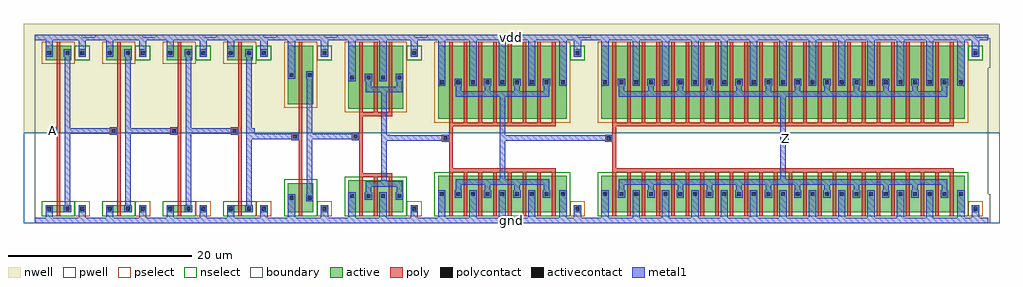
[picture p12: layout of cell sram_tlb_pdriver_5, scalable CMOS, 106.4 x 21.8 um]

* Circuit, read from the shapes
.subckt sram_tlb_pdriver_5 A Z gnd vdd
M1 sram_tlb_pinv_6_1/A A gnd gnd nfet w=0.8u l=0.4u
M2 sram_tlb_pinv_6_2/A sram_tlb_pinv_6_1/A gnd gnd nfet w=0.8u l=0.4u
M3 sram_tlb_pinv_6_3/A sram_tlb_pinv_6_2/A gnd gnd nfet w=0.8u l=0.4u
M4 sram_tlb_pinv_18_4/A sram_tlb_pinv_6_3/A gnd gnd nfet w=0.8u l=0.4u
M5 sram_tlb_pinv_19_5/A sram_tlb_pinv_18_4/A gnd gnd nfet w=3.2u l=0.4u
M6 sram_tlb_pinv_20_6/A sram_tlb_pinv_19_5/A gnd gnd nfet w=3.5u l=0.4u m=3
M7 sram_tlb_pinv_21_7/A sram_tlb_pinv_20_6/A gnd gnd nfet w=4u l=0.4u m=8
M8 Z sram_tlb_pinv_21_7/A gnd gnd nfet w=4u l=0.4u m=24
M9 sram_tlb_pinv_6_1/A A vdd vdd pfet w=1.6u l=0.4u
M10 sram_tlb_pinv_6_2/A sram_tlb_pinv_6_1/A vdd vdd pfet w=1.6u l=0.4u
M11 sram_tlb_pinv_6_3/A sram_tlb_pinv_6_2/A vdd vdd pfet w=1.6u l=0.4u
M12 sram_tlb_pinv_18_4/A sram_tlb_pinv_6_3/A vdd vdd pfet w=1.6u l=0.4u
M13 sram_tlb_pinv_19_5/A sram_tlb_pinv_18_4/A vdd vdd pfet w=6.4u l=0.4u
M14 sram_tlb_pinv_20_6/A sram_tlb_pinv_19_5/A vdd vdd pfet w=6.9u l=0.4u m=3
M15 sram_tlb_pinv_21_7/A sram_tlb_pinv_20_6/A vdd vdd pfet w=8u l=0.4u m=8
M16 Z sram_tlb_pinv_21_7/A vdd vdd pfet w=8u l=0.4u m=24
.ends

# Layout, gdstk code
import gdstk
lib = gdstk.Library(unit=1e-6, precision=1e-09)
def R(c, l, rs):  # rectangles x0, y0, x1, y1
    for r in rs: c.add(gdstk.rectangle(r[:2], r[2:], *l))
def A(c, l, x, y, w, h, nx, ny, dx, dy):  # array of equal rectangles
    R(c, l, [(x+i*dx, y+j*dy, x+i*dx+w, y+j*dy+h) for i in range(nx) for j in range(ny)])
pwell = (41, 0)
nwell = (42, 0)
active = (43, 0)
pselect = (44, 0)
nselect = (45, 0)
poly = (46, 0)
polycontact = (47, 0)
activecontact = (48, 0)
metal1 = (49, 0)
boundary = (63, 0)

sram_tlb_contact_11 = lib.new_cell('sram_tlb_contact_11')
R(sram_tlb_contact_11, nwell, [(-1.2,-1.2,2,2)])
R(sram_tlb_contact_11, active, [(0,0,0.8,0.8)])
R(sram_tlb_contact_11, pselect, [(-0.4,-0.4,1.2,1.2)])
R(sram_tlb_contact_11, activecontact, [(0.2,0.2,0.6,0.6)])
R(sram_tlb_contact_11, metal1, [(0,0,0.8,0.8)])
R(sram_tlb_contact_11, boundary, [(-1.2,-1.2,2,2)])

sram_tlb_pmos_m1_w1_600_ = lib.new_cell('sram_tlb_pmos_m1_w1_600_sm1_dm1_da_p')
R(sram_tlb_pmos_m1_w1_600_, nwell, [(-1.2,-1.2,4,2.8)])
R(sram_tlb_pmos_m1_w1_600_, active, [(0,0,2.8,1.6)])
R(sram_tlb_pmos_m1_w1_600_, pselect, [(-0.4,-0.4,3.2,2)])
R(sram_tlb_pmos_m1_w1_600_, poly, [(1.2,-0.4,1.6,2), (1.2,-0.4,1.6,2)])
R(sram_tlb_pmos_m1_w1_600_, metal1, [(0,0.4,0.8,1.2), (2,0.4,2.8,1.2)])
R(sram_tlb_pmos_m1_w1_600_, boundary, [(-1.2,-1.2,4,2.8)])
sram_tlb_pmos_m1_w1_600_.add(gdstk.Reference(sram_tlb_contact_11, (0,0.4)))
sram_tlb_pmos_m1_w1_600_.add(gdstk.Reference(sram_tlb_contact_11, (2,0.4)))
sram_tlb_pmos_m1_w1_600_.add(gdstk.Label('G', (1.4,0.8), layer=46, texttype=0))
sram_tlb_pmos_m1_w1_600_.add(gdstk.Label('S', (0.4,0.8), layer=49, texttype=0))
sram_tlb_pmos_m1_w1_600_.add(gdstk.Label('D', (2.4,0.8), layer=49, texttype=0))

sram_tlb_contact_10 = lib.new_cell('sram_tlb_contact_10')
R(sram_tlb_contact_10, pwell, [(-1.2,-1.2,2,2)])
R(sram_tlb_contact_10, active, [(0,0,0.8,0.8)])
R(sram_tlb_contact_10, nselect, [(-0.4,-0.4,1.2,1.2)])
R(sram_tlb_contact_10, activecontact, [(0.2,0.2,0.6,0.6)])
R(sram_tlb_contact_10, metal1, [(0,0,0.8,0.8)])
R(sram_tlb_contact_10, boundary, [(-1.2,-1.2,2,2)])

sram_tlb_nmos_m1_w0_800_ = lib.new_cell('sram_tlb_nmos_m1_w0_800_sm1_dm1_da_p')
R(sram_tlb_nmos_m1_w0_800_, pwell, [(-1.2,-1.2,4,2)])
R(sram_tlb_nmos_m1_w0_800_, active, [(0,0,2.8,0.8)])
R(sram_tlb_nmos_m1_w0_800_, nselect, [(-0.4,-0.4,3.2,1.2)])
R(sram_tlb_nmos_m1_w0_800_, poly, [(1.2,-0.4,1.6,1.2), (1.2,-0.4,1.6,1.2)])
R(sram_tlb_nmos_m1_w0_800_, metal1, [(0,0,0.8,0.8), (2,0,2.8,0.8)])
R(sram_tlb_nmos_m1_w0_800_, boundary, [(-1.2,-1.2,4,2)])
sram_tlb_nmos_m1_w0_800_.add(gdstk.Reference(sram_tlb_contact_10, (0,0)))
sram_tlb_nmos_m1_w0_800_.add(gdstk.Reference(sram_tlb_contact_10, (2,0)))
sram_tlb_nmos_m1_w0_800_.add(gdstk.Label('G', (1.4,0.4), layer=46, texttype=0))
sram_tlb_nmos_m1_w0_800_.add(gdstk.Label('S', (0.4,0.4), layer=49, texttype=0))
sram_tlb_nmos_m1_w0_800_.add(gdstk.Label('D', (2.4,0.4), layer=49, texttype=0))

sram_tlb_contact_12 = lib.new_cell('sram_tlb_contact_12')
R(sram_tlb_contact_12, nwell, [(-1.2,-1.2,2,2)])
R(sram_tlb_contact_12, active, [(0,0,0.8,0.8)])
R(sram_tlb_contact_12, nselect, [(-0.4,-0.4,1.2,1.2)])
R(sram_tlb_contact_12, activecontact, [(0.2,0.2,0.6,0.6)])
R(sram_tlb_contact_12, metal1, [(0,0,0.8,0.8)])
R(sram_tlb_contact_12, boundary, [(-1.2,-1.2,2,2)])

sram_tlb_contact_13 = lib.new_cell('sram_tlb_contact_13')
R(sram_tlb_contact_13, pwell, [(-1.2,-1.2,2,2)])
R(sram_tlb_contact_13, active, [(0,0,0.8,0.8)])
R(sram_tlb_contact_13, pselect, [(-0.4,-0.4,1.2,1.2)])
R(sram_tlb_contact_13, activecontact, [(0.2,0.2,0.6,0.6)])
R(sram_tlb_contact_13, metal1, [(0,0,0.8,0.8)])
R(sram_tlb_contact_13, boundary, [(-1.2,-1.2,2,2)])

sram_tlb_contact_14 = lib.new_cell('sram_tlb_contact_14')
R(sram_tlb_contact_14, poly, [(0,0,0.8,0.8)])
R(sram_tlb_contact_14, polycontact, [(0.2,0.2,0.6,0.6)])
R(sram_tlb_contact_14, metal1, [(0,0,0.8,0.8)])
R(sram_tlb_contact_14, boundary, [(0,0,0.8,0.8)])

sram_tlb_pinv_6 = lib.new_cell('sram_tlb_pinv_6')
R(sram_tlb_pinv_6, pwell, [(-1.2,-0.3,7.8,9.6)])
R(sram_tlb_pinv_6, nwell, [(-1.2,9.6,7.8,21.5)])
R(sram_tlb_pinv_6, poly, [(2.4,2.1,2.8,17.1), (2,9.4,2.4,10.2)])
R(sram_tlb_pinv_6, metal1, [(0,-0.3,6.6,0.3), (1.2,-0.3,2,0.9), (4.8,0,5.6,1.3), (3.3,0.9,3.9,18.7), (1.6,9.4,2.4,10.2), (3.6,9.5,4.2,10.1), (1.2,17.9,2,20.3), (4.8,18.3,5.6,20), (0,19.7,6.6,20.3)])
R(sram_tlb_pinv_6, boundary, [(0,0,6.6,20), (0,0,6.6,20)])
sram_tlb_pinv_6.add(gdstk.Reference(sram_tlb_pmos_m1_w1_600_, (1.2,17.5)))
sram_tlb_pinv_6.add(gdstk.Reference(sram_tlb_nmos_m1_w0_800_, (1.2,0.9)))
sram_tlb_pinv_6.add(gdstk.Reference(sram_tlb_contact_12, (4.8,17.9)))
sram_tlb_pinv_6.add(gdstk.Reference(sram_tlb_contact_13, (4.8,0.9)))
sram_tlb_pinv_6.add(gdstk.Reference(sram_tlb_contact_14, (1.6,9.4)))
sram_tlb_pinv_6.add(gdstk.Label('A', (2,9.8), layer=49, texttype=0))
sram_tlb_pinv_6.add(gdstk.Label('Z', (3.9,9.8), layer=49, texttype=0))
sram_tlb_pinv_6.add(gdstk.Label('gnd', (3.3,0), layer=49, texttype=0))
sram_tlb_pinv_6.add(gdstk.Label('vdd', (3.3,20), layer=49, texttype=0))

sram_tlb_pmos_m1_w6_400_ = lib.new_cell('sram_tlb_pmos_m1_w6_400_sm1_dm1_da_p')
R(sram_tlb_pmos_m1_w6_400_, nwell, [(-1.2,-1.2,4,7.6)])
R(sram_tlb_pmos_m1_w6_400_, active, [(0,0,2.8,6.4)])
R(sram_tlb_pmos_m1_w6_400_, pselect, [(-0.4,-0.4,3.2,6.8)])
R(sram_tlb_pmos_m1_w6_400_, poly, [(1.2,-0.4,1.6,6.8), (1.2,-0.4,1.6,6.8)])
R(sram_tlb_pmos_m1_w6_400_, metal1, [(0,2.8,0.8,3.6), (2,2.8,2.8,3.6)])
R(sram_tlb_pmos_m1_w6_400_, boundary, [(-1.2,-1.2,4,7.6)])
sram_tlb_pmos_m1_w6_400_.add(gdstk.Reference(sram_tlb_contact_11, (0,2.8)))
sram_tlb_pmos_m1_w6_400_.add(gdstk.Reference(sram_tlb_contact_11, (2,2.8)))
sram_tlb_pmos_m1_w6_400_.add(gdstk.Label('G', (1.4,3.2), layer=46, texttype=0))
sram_tlb_pmos_m1_w6_400_.add(gdstk.Label('S', (0.4,3.2), layer=49, texttype=0))
sram_tlb_pmos_m1_w6_400_.add(gdstk.Label('D', (2.4,3.2), layer=49, texttype=0))

sram_tlb_nmos_m1_w3_200_ = lib.new_cell('sram_tlb_nmos_m1_w3_200_sm1_dm1_da_p')
R(sram_tlb_nmos_m1_w3_200_, pwell, [(-1.2,-1.2,4,4.4)])
R(sram_tlb_nmos_m1_w3_200_, active, [(0,0,2.8,3.2)])
R(sram_tlb_nmos_m1_w3_200_, nselect, [(-0.4,-0.4,3.2,3.6)])
R(sram_tlb_nmos_m1_w3_200_, poly, [(1.2,-0.4,1.6,3.6), (1.2,-0.4,1.6,3.6)])
R(sram_tlb_nmos_m1_w3_200_, metal1, [(0,1.2,0.8,2), (2,1.2,2.8,2)])
R(sram_tlb_nmos_m1_w3_200_, boundary, [(-1.2,-1.2,4,4.4)])
sram_tlb_nmos_m1_w3_200_.add(gdstk.Reference(sram_tlb_contact_10, (0,1.2)))
sram_tlb_nmos_m1_w3_200_.add(gdstk.Reference(sram_tlb_contact_10, (2,1.2)))
sram_tlb_nmos_m1_w3_200_.add(gdstk.Label('G', (1.4,1.6), layer=46, texttype=0))
sram_tlb_nmos_m1_w3_200_.add(gdstk.Label('S', (0.4,1.6), layer=49, texttype=0))
sram_tlb_nmos_m1_w3_200_.add(gdstk.Label('D', (2.4,1.6), layer=49, texttype=0))

sram_tlb_pinv_18 = lib.new_cell('sram_tlb_pinv_18')
R(sram_tlb_pinv_18, pwell, [(-1.2,-0.3,7.8,9.6)])
R(sram_tlb_pinv_18, nwell, [(-1.2,9.6,7.8,21.5)])
R(sram_tlb_pinv_18, poly, [(2.4,4.5,2.8,12.3), (2,8.8,2.4,9.6)])
R(sram_tlb_pinv_18, metal1, [(0,-0.3,6.6,0.3), (1.2,-0.3,2,2.1), (4.8,0,5.6,1.3), (3.3,2.1,3.9,16.3), (1.6,8.8,2.4,9.6), (3.6,8.9,4.2,9.5), (1.2,15.5,2,20.3), (4.8,18.3,5.6,20), (0,19.7,6.6,20.3)])
R(sram_tlb_pinv_18, boundary, [(0,0,6.6,20), (0,0,6.6,20)])
sram_tlb_pinv_18.add(gdstk.Reference(sram_tlb_pmos_m1_w6_400_, (1.2,12.7)))
sram_tlb_pinv_18.add(gdstk.Reference(sram_tlb_nmos_m1_w3_200_, (1.2,0.9)))
sram_tlb_pinv_18.add(gdstk.Reference(sram_tlb_contact_12, (4.8,17.9)))
sram_tlb_pinv_18.add(gdstk.Reference(sram_tlb_contact_13, (4.8,0.9)))
sram_tlb_pinv_18.add(gdstk.Reference(sram_tlb_contact_14, (1.6,8.8)))
sram_tlb_pinv_18.add(gdstk.Label('A', (2,9.2), layer=49, texttype=0))
sram_tlb_pinv_18.add(gdstk.Label('Z', (3.9,9.2), layer=49, texttype=0))
sram_tlb_pinv_18.add(gdstk.Label('gnd', (3.3,0), layer=49, texttype=0))
sram_tlb_pinv_18.add(gdstk.Label('vdd', (3.3,20), layer=49, texttype=0))

sram_tlb_pmos_m3_w6_900_ = lib.new_cell('sram_tlb_pmos_m3_w6_900_sm1_dm1_da_p')
R(sram_tlb_pmos_m3_w6_900_, nwell, [(-1.2,-1.2,7.2,8.1)])
R(sram_tlb_pmos_m3_w6_900_, active, [(0,0,6,6.9)])
R(sram_tlb_pmos_m3_w6_900_, pselect, [(-0.4,-0.4,6.4,7.3)])
A(sram_tlb_pmos_m3_w6_900_, poly, 1.2, -0.4, 0.4, 7.7, 3, 1, 1.6, 0)
R(sram_tlb_pmos_m3_w6_900_, poly, [(1.2,-0.8,4.8,-0.4)])
R(sram_tlb_pmos_m3_w6_900_, metal1, [(1.9,1.8,5.9,2.4), (1.9,2.2,2.5,3.4), (5.3,2.2,5.9,3.4), (0,3,0.8,3.8), (3.4,3,4.2,3.8)])
R(sram_tlb_pmos_m3_w6_900_, boundary, [(-1.2,-1.2,7.2,8.1)])
sram_tlb_pmos_m3_w6_900_.add(gdstk.Reference(sram_tlb_contact_11, (0,3)))
sram_tlb_pmos_m3_w6_900_.add(gdstk.Reference(sram_tlb_contact_11, (1.8,3)))
sram_tlb_pmos_m3_w6_900_.add(gdstk.Reference(sram_tlb_contact_11, (3.4,3)))
sram_tlb_pmos_m3_w6_900_.add(gdstk.Reference(sram_tlb_contact_11, (5.2,3)))
sram_tlb_pmos_m3_w6_900_.add(gdstk.Label('G', (3,-0.6), layer=46, texttype=0))
sram_tlb_pmos_m3_w6_900_.add(gdstk.Label('S', (3.8,3.4), layer=49, texttype=0))
sram_tlb_pmos_m3_w6_900_.add(gdstk.Label('S', (0.4,3.4), layer=49, texttype=0))
sram_tlb_pmos_m3_w6_900_.add(gdstk.Label('D', (3.9,2.1), layer=49, texttype=0))

sram_tlb_nmos_m3_w3_500_ = lib.new_cell('sram_tlb_nmos_m3_w3_500_sm1_dm1_da_p')
R(sram_tlb_nmos_m3_w3_500_, pwell, [(-1.2,-1.2,7.2,4.7)])
R(sram_tlb_nmos_m3_w3_500_, active, [(0,0,6,3.5)])
R(sram_tlb_nmos_m3_w3_500_, nselect, [(-0.4,-0.4,6.4,3.9)])
A(sram_tlb_nmos_m3_w3_500_, poly, 1.2, -0.4, 0.4, 4.3, 3, 1, 1.6, 0)
R(sram_tlb_nmos_m3_w3_500_, poly, [(1.2,3.9,4.8,4.3)])
R(sram_tlb_nmos_m3_w3_500_, metal1, [(0,1.4,0.8,2.2), (3.4,1.4,4.2,2.2), (1.9,1.8,2.5,3), (5.3,1.8,5.9,3), (1.9,2.8,5.9,3.4)])
R(sram_tlb_nmos_m3_w3_500_, boundary, [(-1.2,-1.2,7.2,4.7)])
sram_tlb_nmos_m3_w3_500_.add(gdstk.Reference(sram_tlb_contact_10, (0,1.4)))
sram_tlb_nmos_m3_w3_500_.add(gdstk.Reference(sram_tlb_contact_10, (1.8,1.4)))
sram_tlb_nmos_m3_w3_500_.add(gdstk.Reference(sram_tlb_contact_10, (3.4,1.4)))
sram_tlb_nmos_m3_w3_500_.add(gdstk.Reference(sram_tlb_contact_10, (5.2,1.4)))
sram_tlb_nmos_m3_w3_500_.add(gdstk.Label('G', (3,4.1), layer=46, texttype=0))
sram_tlb_nmos_m3_w3_500_.add(gdstk.Label('S', (0.4,1.8), layer=49, texttype=0))
sram_tlb_nmos_m3_w3_500_.add(gdstk.Label('S', (3.8,1.8), layer=49, texttype=0))
sram_tlb_nmos_m3_w3_500_.add(gdstk.Label('D', (3.9,3.1), layer=49, texttype=0))

sram_tlb_pinv_19 = lib.new_cell('sram_tlb_pinv_19')
R(sram_tlb_pinv_19, pwell, [(-1.2,-0.3,11,9.6)])
R(sram_tlb_pinv_19, nwell, [(-1.2,9.6,11,21.5)])
R(sram_tlb_pinv_19, poly, [(2.4,5.2,2.8,11.4), (2,8.8,2.4,9.6)])
R(sram_tlb_pinv_19, metal1, [(0,-0.3,9.8,0.3), (1.2,-0.3,2,2.3), (4.6,-0.3,5.4,2.3), (8,0,8.8,1.3), (4.8,3.7,5.4,14.6), (1.6,8.8,2.4,9.6), (5.1,8.8,5.7,9.4), (1.2,15.2,2,20.3), (4.6,15.2,5.4,20.3), (8,18.3,8.8,20), (0,19.7,9.8,20.3)])
R(sram_tlb_pinv_19, boundary, [(0,0,9.8,20), (0,0,9.8,20)])
sram_tlb_pinv_19.add(gdstk.Reference(sram_tlb_pmos_m3_w6_900_, (1.2,12.2)))
sram_tlb_pinv_19.add(gdstk.Reference(sram_tlb_nmos_m3_w3_500_, (1.2,0.9)))
sram_tlb_pinv_19.add(gdstk.Reference(sram_tlb_contact_12, (8,17.9)))
sram_tlb_pinv_19.add(gdstk.Reference(sram_tlb_contact_13, (8,0.9)))
sram_tlb_pinv_19.add(gdstk.Reference(sram_tlb_contact_14, (1.6,8.8)))
sram_tlb_pinv_19.add(gdstk.Label('A', (2,9.2), layer=49, texttype=0))
sram_tlb_pinv_19.add(gdstk.Label('Z', (5.4,9.1), layer=49, texttype=0))
sram_tlb_pinv_19.add(gdstk.Label('gnd', (4.9,0), layer=49, texttype=0))
sram_tlb_pinv_19.add(gdstk.Label('vdd', (4.9,20), layer=49, texttype=0))

sram_tlb_pmos_m8_w8_000_ = lib.new_cell('sram_tlb_pmos_m8_w8_000_sm1_dm1_da_p')
R(sram_tlb_pmos_m8_w8_000_, nwell, [(-1.2,-1.2,15.2,9.2)])
R(sram_tlb_pmos_m8_w8_000_, active, [(0,0,14,8)])
R(sram_tlb_pmos_m8_w8_000_, pselect, [(-0.4,-0.4,14.4,8.4)])
A(sram_tlb_pmos_m8_w8_000_, poly, 1.2, -0.4, 0.4, 8.8, 8, 1, 1.6, 0)
R(sram_tlb_pmos_m8_w8_000_, poly, [(1.2,-0.8,12.8,-0.4)])
A(sram_tlb_pmos_m8_w8_000_, metal1, 1.9, 2.7, 0.6, 1.3, 4, 1, 3.2, 0)
A(sram_tlb_pmos_m8_w8_000_, metal1, 3.4, 3.6, 0.8, 0.8, 3, 1, 3.2, 0)
R(sram_tlb_pmos_m8_w8_000_, metal1, [(1.9,2.4,12.1,3), (0,3.6,0.8,4.4), (13.2,3.6,14,4.4)])
R(sram_tlb_pmos_m8_w8_000_, boundary, [(-1.2,-1.2,15.2,9.2)])
sram_tlb_pmos_m8_w8_000_.add(gdstk.Reference(sram_tlb_contact_11, (0,3.6)))
sram_tlb_pmos_m8_w8_000_.add(gdstk.Reference(sram_tlb_contact_11, (1.8,3.6)))
sram_tlb_pmos_m8_w8_000_.add(gdstk.Reference(sram_tlb_contact_11, (3.4,3.6)))
sram_tlb_pmos_m8_w8_000_.add(gdstk.Reference(sram_tlb_contact_11, (5,3.6)))
sram_tlb_pmos_m8_w8_000_.add(gdstk.Reference(sram_tlb_contact_11, (6.6,3.6)))
sram_tlb_pmos_m8_w8_000_.add(gdstk.Reference(sram_tlb_contact_11, (8.2,3.6)))
sram_tlb_pmos_m8_w8_000_.add(gdstk.Reference(sram_tlb_contact_11, (9.8,3.6)))
sram_tlb_pmos_m8_w8_000_.add(gdstk.Reference(sram_tlb_contact_11, (11.4,3.6)))
sram_tlb_pmos_m8_w8_000_.add(gdstk.Reference(sram_tlb_contact_11, (13.2,3.6)))
sram_tlb_pmos_m8_w8_000_.add(gdstk.Label('G', (7,-0.6), layer=46, texttype=0))
sram_tlb_pmos_m8_w8_000_.add(gdstk.Label('S', (3.8,4), layer=49, texttype=0))
sram_tlb_pmos_m8_w8_000_.add(gdstk.Label('S', (0.4,4), layer=49, texttype=0))
sram_tlb_pmos_m8_w8_000_.add(gdstk.Label('S', (13.6,4), layer=49, texttype=0))
sram_tlb_pmos_m8_w8_000_.add(gdstk.Label('S', (10.2,4), layer=49, texttype=0))
sram_tlb_pmos_m8_w8_000_.add(gdstk.Label('S', (7,4), layer=49, texttype=0))
sram_tlb_pmos_m8_w8_000_.add(gdstk.Label('D', (7,2.7), layer=49, texttype=0))

sram_tlb_nmos_m8_w4_000_ = lib.new_cell('sram_tlb_nmos_m8_w4_000_sm1_dm1_da_p')
R(sram_tlb_nmos_m8_w4_000_, pwell, [(-1.2,-1.2,15.2,5.2)])
R(sram_tlb_nmos_m8_w4_000_, active, [(0,0,14,4)])
R(sram_tlb_nmos_m8_w4_000_, nselect, [(-0.4,-0.4,14.4,4.4)])
A(sram_tlb_nmos_m8_w4_000_, poly, 1.2, -0.4, 0.4, 4.8, 8, 1, 1.6, 0)
R(sram_tlb_nmos_m8_w4_000_, poly, [(1.2,4.4,12.8,4.8)])
A(sram_tlb_nmos_m8_w4_000_, metal1, 3.4, 1.6, 0.8, 0.8, 3, 1, 3.2, 0)
A(sram_tlb_nmos_m8_w4_000_, metal1, 1.9, 2, 0.6, 1.3, 4, 1, 3.2, 0)
R(sram_tlb_nmos_m8_w4_000_, metal1, [(0,1.6,0.8,2.4), (13.2,1.6,14,2.4), (1.9,3,12.1,3.6)])
R(sram_tlb_nmos_m8_w4_000_, boundary, [(-1.2,-1.2,15.2,5.2)])
sram_tlb_nmos_m8_w4_000_.add(gdstk.Reference(sram_tlb_contact_10, (0,1.6)))
sram_tlb_nmos_m8_w4_000_.add(gdstk.Reference(sram_tlb_contact_10, (1.8,1.6)))
sram_tlb_nmos_m8_w4_000_.add(gdstk.Reference(sram_tlb_contact_10, (3.4,1.6)))
sram_tlb_nmos_m8_w4_000_.add(gdstk.Reference(sram_tlb_contact_10, (5,1.6)))
sram_tlb_nmos_m8_w4_000_.add(gdstk.Reference(sram_tlb_contact_10, (6.6,1.6)))
sram_tlb_nmos_m8_w4_000_.add(gdstk.Reference(sram_tlb_contact_10, (8.2,1.6)))
sram_tlb_nmos_m8_w4_000_.add(gdstk.Reference(sram_tlb_contact_10, (9.8,1.6)))
sram_tlb_nmos_m8_w4_000_.add(gdstk.Reference(sram_tlb_contact_10, (11.4,1.6)))
sram_tlb_nmos_m8_w4_000_.add(gdstk.Reference(sram_tlb_contact_10, (13.2,1.6)))
sram_tlb_nmos_m8_w4_000_.add(gdstk.Label('G', (7,4.6), layer=46, texttype=0))
sram_tlb_nmos_m8_w4_000_.add(gdstk.Label('S', (13.6,2), layer=49, texttype=0))
sram_tlb_nmos_m8_w4_000_.add(gdstk.Label('S', (0.4,2), layer=49, texttype=0))
sram_tlb_nmos_m8_w4_000_.add(gdstk.Label('S', (3.8,2), layer=49, texttype=0))
sram_tlb_nmos_m8_w4_000_.add(gdstk.Label('S', (10.2,2), layer=49, texttype=0))
sram_tlb_nmos_m8_w4_000_.add(gdstk.Label('S', (7,2), layer=49, texttype=0))
sram_tlb_nmos_m8_w4_000_.add(gdstk.Label('D', (7,3.3), layer=49, texttype=0))

sram_tlb_pinv_20 = lib.new_cell('sram_tlb_pinv_20')
R(sram_tlb_pinv_20, pwell, [(-1.2,-0.3,19,9.6)])
R(sram_tlb_pinv_20, nwell, [(-1.2,9.6,19,21.5)])
R(sram_tlb_pinv_20, poly, [(2.4,5.7,2.8,10.3), (2,8.6,2.4,9.4)])
A(sram_tlb_pinv_20, metal1, 4.6, -0.3, 0.8, 2.8, 3, 1, 3.2, 0)
A(sram_tlb_pinv_20, metal1, 4.6, 14.7, 0.8, 5.6, 3, 1, 3.2, 0)
R(sram_tlb_pinv_20, metal1, [(0,-0.3,17.8,0.3), (1.2,-0.3,2,2.5), (14.4,-0.3,15.2,2.5), (16,0,16.8,1.3), (7.9,3.9,8.5,14.1), (1.6,8.6,2.4,9.4), (8.2,8.7,8.8,9.3), (1.2,14.7,2,20.3), (14.4,14.7,15.2,20.3), (16,18.3,16.8,20), (0,19.7,17.8,20.3)])
R(sram_tlb_pinv_20, boundary, [(0,0,17.8,20), (0,0,17.8,20)])
sram_tlb_pinv_20.add(gdstk.Reference(sram_tlb_pmos_m8_w8_000_, (1.2,11.1)))
sram_tlb_pinv_20.add(gdstk.Reference(sram_tlb_nmos_m8_w4_000_, (1.2,0.9)))
sram_tlb_pinv_20.add(gdstk.Reference(sram_tlb_contact_12, (16,17.9)))
sram_tlb_pinv_20.add(gdstk.Reference(sram_tlb_contact_13, (16,0.9)))
sram_tlb_pinv_20.add(gdstk.Reference(sram_tlb_contact_14, (1.6,8.6)))
sram_tlb_pinv_20.add(gdstk.Label('A', (2,9), layer=49, texttype=0))
sram_tlb_pinv_20.add(gdstk.Label('Z', (8.5,9), layer=49, texttype=0))
sram_tlb_pinv_20.add(gdstk.Label('gnd', (8.9,0), layer=49, texttype=0))
sram_tlb_pinv_20.add(gdstk.Label('vdd', (8.9,20), layer=49, texttype=0))

sram_tlb_pmos_m24_w8_000 = lib.new_cell('sram_tlb_pmos_m24_w8_000_sm1_dm1_da_p')
R(sram_tlb_pmos_m24_w8_000, nwell, [(-1.2,-1.2,40.8,9.2)])
R(sram_tlb_pmos_m24_w8_000, active, [(0,0,39.6,8)])
R(sram_tlb_pmos_m24_w8_000, pselect, [(-0.4,-0.4,40,8.4)])
A(sram_tlb_pmos_m24_w8_000, poly, 1.2, -0.4, 0.4, 8.8, 24, 1, 1.6, 0)
R(sram_tlb_pmos_m24_w8_000, poly, [(1.2,-0.8,38.4,-0.4)])
A(sram_tlb_pmos_m24_w8_000, metal1, 1.9, 2.7, 0.6, 1.3, 12, 1, 3.2, 0)
A(sram_tlb_pmos_m24_w8_000, metal1, 3.4, 3.6, 0.8, 0.8, 11, 1, 3.2, 0)
R(sram_tlb_pmos_m24_w8_000, metal1, [(1.9,2.4,37.7,3), (0,3.6,0.8,4.4), (38.8,3.6,39.6,4.4)])
R(sram_tlb_pmos_m24_w8_000, boundary, [(-1.2,-1.2,40.8,9.2)])
sram_tlb_pmos_m24_w8_000.add(gdstk.Reference(sram_tlb_contact_11, (0,3.6)))
sram_tlb_pmos_m24_w8_000.add(gdstk.Reference(sram_tlb_contact_11, (1.8,3.6)))
sram_tlb_pmos_m24_w8_000.add(gdstk.Reference(sram_tlb_contact_11, (3.4,3.6)))
sram_tlb_pmos_m24_w8_000.add(gdstk.Reference(sram_tlb_contact_11, (5,3.6)))
sram_tlb_pmos_m24_w8_000.add(gdstk.Reference(sram_tlb_contact_11, (6.6,3.6)))
sram_tlb_pmos_m24_w8_000.add(gdstk.Reference(sram_tlb_contact_11, (8.2,3.6)))
sram_tlb_pmos_m24_w8_000.add(gdstk.Reference(sram_tlb_contact_11, (9.8,3.6)))
sram_tlb_pmos_m24_w8_000.add(gdstk.Reference(sram_tlb_contact_11, (11.4,3.6)))
sram_tlb_pmos_m24_w8_000.add(gdstk.Reference(sram_tlb_contact_11, (13,3.6)))
sram_tlb_pmos_m24_w8_000.add(gdstk.Reference(sram_tlb_contact_11, (14.6,3.6)))
sram_tlb_pmos_m24_w8_000.add(gdstk.Reference(sram_tlb_contact_11, (16.2,3.6)))
sram_tlb_pmos_m24_w8_000.add(gdstk.Reference(sram_tlb_contact_11, (17.8,3.6)))
sram_tlb_pmos_m24_w8_000.add(gdstk.Reference(sram_tlb_contact_11, (19.4,3.6)))
sram_tlb_pmos_m24_w8_000.add(gdstk.Reference(sram_tlb_contact_11, (21,3.6)))
sram_tlb_pmos_m24_w8_000.add(gdstk.Reference(sram_tlb_contact_11, (22.6,3.6)))
sram_tlb_pmos_m24_w8_000.add(gdstk.Reference(sram_tlb_contact_11, (24.2,3.6)))
sram_tlb_pmos_m24_w8_000.add(gdstk.Reference(sram_tlb_contact_11, (25.8,3.6)))
sram_tlb_pmos_m24_w8_000.add(gdstk.Reference(sram_tlb_contact_11, (27.4,3.6)))
sram_tlb_pmos_m24_w8_000.add(gdstk.Reference(sram_tlb_contact_11, (29,3.6)))
sram_tlb_pmos_m24_w8_000.add(gdstk.Reference(sram_tlb_contact_11, (30.6,3.6)))
sram_tlb_pmos_m24_w8_000.add(gdstk.Reference(sram_tlb_contact_11, (32.2,3.6)))
sram_tlb_pmos_m24_w8_000.add(gdstk.Reference(sram_tlb_contact_11, (33.8,3.6)))
sram_tlb_pmos_m24_w8_000.add(gdstk.Reference(sram_tlb_contact_11, (35.4,3.6)))
sram_tlb_pmos_m24_w8_000.add(gdstk.Reference(sram_tlb_contact_11, (37,3.6)))
sram_tlb_pmos_m24_w8_000.add(gdstk.Reference(sram_tlb_contact_11, (38.8,3.6)))
sram_tlb_pmos_m24_w8_000.add(gdstk.Label('G', (19.8,-0.6), layer=46, texttype=0))
sram_tlb_pmos_m24_w8_000.add(gdstk.Label('S', (16.6,4), layer=49, texttype=0))
sram_tlb_pmos_m24_w8_000.add(gdstk.Label('S', (3.8,4), layer=49, texttype=0))
sram_tlb_pmos_m24_w8_000.add(gdstk.Label('S', (13.4,4), layer=49, texttype=0))
sram_tlb_pmos_m24_w8_000.add(gdstk.Label('S', (19.8,4), layer=49, texttype=0))
sram_tlb_pmos_m24_w8_000.add(gdstk.Label('S', (0.4,4), layer=49, texttype=0))
sram_tlb_pmos_m24_w8_000.add(gdstk.Label('S', (26.2,4), layer=49, texttype=0))
sram_tlb_pmos_m24_w8_000.add(gdstk.Label('S', (32.6,4), layer=49, texttype=0))
sram_tlb_pmos_m24_w8_000.add(gdstk.Label('S', (35.8,4), layer=49, texttype=0))
sram_tlb_pmos_m24_w8_000.add(gdstk.Label('S', (29.4,4), layer=49, texttype=0))
sram_tlb_pmos_m24_w8_000.add(gdstk.Label('S', (10.2,4), layer=49, texttype=0))
sram_tlb_pmos_m24_w8_000.add(gdstk.Label('S', (23,4), layer=49, texttype=0))
sram_tlb_pmos_m24_w8_000.add(gdstk.Label('S', (39.2,4), layer=49, texttype=0))
sram_tlb_pmos_m24_w8_000.add(gdstk.Label('S', (7,4), layer=49, texttype=0))
sram_tlb_pmos_m24_w8_000.add(gdstk.Label('D', (19.8,2.7), layer=49, texttype=0))

sram_tlb_nmos_m24_w4_000 = lib.new_cell('sram_tlb_nmos_m24_w4_000_sm1_dm1_da_p')
R(sram_tlb_nmos_m24_w4_000, pwell, [(-1.2,-1.2,40.8,5.2)])
R(sram_tlb_nmos_m24_w4_000, active, [(0,0,39.6,4)])
R(sram_tlb_nmos_m24_w4_000, nselect, [(-0.4,-0.4,40,4.4)])
A(sram_tlb_nmos_m24_w4_000, poly, 1.2, -0.4, 0.4, 4.8, 24, 1, 1.6, 0)
R(sram_tlb_nmos_m24_w4_000, poly, [(1.2,4.4,38.4,4.8)])
A(sram_tlb_nmos_m24_w4_000, metal1, 3.4, 1.6, 0.8, 0.8, 11, 1, 3.2, 0)
A(sram_tlb_nmos_m24_w4_000, metal1, 1.9, 2, 0.6, 1.3, 12, 1, 3.2, 0)
R(sram_tlb_nmos_m24_w4_000, metal1, [(0,1.6,0.8,2.4), (38.8,1.6,39.6,2.4), (1.9,3,37.7,3.6)])
R(sram_tlb_nmos_m24_w4_000, boundary, [(-1.2,-1.2,40.8,5.2)])
sram_tlb_nmos_m24_w4_000.add(gdstk.Reference(sram_tlb_contact_10, (0,1.6)))
sram_tlb_nmos_m24_w4_000.add(gdstk.Reference(sram_tlb_contact_10, (1.8,1.6)))
sram_tlb_nmos_m24_w4_000.add(gdstk.Reference(sram_tlb_contact_10, (3.4,1.6)))
sram_tlb_nmos_m24_w4_000.add(gdstk.Reference(sram_tlb_contact_10, (5,1.6)))
sram_tlb_nmos_m24_w4_000.add(gdstk.Reference(sram_tlb_contact_10, (6.6,1.6)))
sram_tlb_nmos_m24_w4_000.add(gdstk.Reference(sram_tlb_contact_10, (8.2,1.6)))
sram_tlb_nmos_m24_w4_000.add(gdstk.Reference(sram_tlb_contact_10, (9.8,1.6)))
sram_tlb_nmos_m24_w4_000.add(gdstk.Reference(sram_tlb_contact_10, (11.4,1.6)))
sram_tlb_nmos_m24_w4_000.add(gdstk.Reference(sram_tlb_contact_10, (13,1.6)))
sram_tlb_nmos_m24_w4_000.add(gdstk.Reference(sram_tlb_contact_10, (14.6,1.6)))
sram_tlb_nmos_m24_w4_000.add(gdstk.Reference(sram_tlb_contact_10, (16.2,1.6)))
sram_tlb_nmos_m24_w4_000.add(gdstk.Reference(sram_tlb_contact_10, (17.8,1.6)))
sram_tlb_nmos_m24_w4_000.add(gdstk.Reference(sram_tlb_contact_10, (19.4,1.6)))
sram_tlb_nmos_m24_w4_000.add(gdstk.Reference(sram_tlb_contact_10, (21,1.6)))
sram_tlb_nmos_m24_w4_000.add(gdstk.Reference(sram_tlb_contact_10, (22.6,1.6)))
sram_tlb_nmos_m24_w4_000.add(gdstk.Reference(sram_tlb_contact_10, (24.2,1.6)))
sram_tlb_nmos_m24_w4_000.add(gdstk.Reference(sram_tlb_contact_10, (25.8,1.6)))
sram_tlb_nmos_m24_w4_000.add(gdstk.Reference(sram_tlb_contact_10, (27.4,1.6)))
sram_tlb_nmos_m24_w4_000.add(gdstk.Reference(sram_tlb_contact_10, (29,1.6)))
sram_tlb_nmos_m24_w4_000.add(gdstk.Reference(sram_tlb_contact_10, (30.6,1.6)))
sram_tlb_nmos_m24_w4_000.add(gdstk.Reference(sram_tlb_contact_10, (32.2,1.6)))
sram_tlb_nmos_m24_w4_000.add(gdstk.Reference(sram_tlb_contact_10, (33.8,1.6)))
sram_tlb_nmos_m24_w4_000.add(gdstk.Reference(sram_tlb_contact_10, (35.4,1.6)))
sram_tlb_nmos_m24_w4_000.add(gdstk.Reference(sram_tlb_contact_10, (37,1.6)))
sram_tlb_nmos_m24_w4_000.add(gdstk.Reference(sram_tlb_contact_10, (38.8,1.6)))
sram_tlb_nmos_m24_w4_000.add(gdstk.Label('G', (19.8,4.6), layer=46, texttype=0))
sram_tlb_nmos_m24_w4_000.add(gdstk.Label('S', (19.8,2), layer=49, texttype=0))
sram_tlb_nmos_m24_w4_000.add(gdstk.Label('S', (26.2,2), layer=49, texttype=0))
sram_tlb_nmos_m24_w4_000.add(gdstk.Label('S', (0.4,2), layer=49, texttype=0))
sram_tlb_nmos_m24_w4_000.add(gdstk.Label('S', (3.8,2), layer=49, texttype=0))
sram_tlb_nmos_m24_w4_000.add(gdstk.Label('S', (29.4,2), layer=49, texttype=0))
sram_tlb_nmos_m24_w4_000.add(gdstk.Label('S', (16.6,2), layer=49, texttype=0))
sram_tlb_nmos_m24_w4_000.add(gdstk.Label('S', (32.6,2), layer=49, texttype=0))
sram_tlb_nmos_m24_w4_000.add(gdstk.Label('S', (35.8,2), layer=49, texttype=0))
sram_tlb_nmos_m24_w4_000.add(gdstk.Label('S', (13.4,2), layer=49, texttype=0))
sram_tlb_nmos_m24_w4_000.add(gdstk.Label('S', (39.2,2), layer=49, texttype=0))
sram_tlb_nmos_m24_w4_000.add(gdstk.Label('S', (23,2), layer=49, texttype=0))
sram_tlb_nmos_m24_w4_000.add(gdstk.Label('S', (10.2,2), layer=49, texttype=0))
sram_tlb_nmos_m24_w4_000.add(gdstk.Label('S', (7,2), layer=49, texttype=0))
sram_tlb_nmos_m24_w4_000.add(gdstk.Label('D', (19.8,3.3), layer=49, texttype=0))

sram_tlb_pinv_21 = lib.new_cell('sram_tlb_pinv_21')
R(sram_tlb_pinv_21, pwell, [(-1.2,-0.3,44.6,9.6)])
R(sram_tlb_pinv_21, nwell, [(-1.2,9.6,44.6,21.5)])
R(sram_tlb_pinv_21, poly, [(2.4,5.7,2.8,10.3), (2,8.6,2.4,9.4)])
A(sram_tlb_pinv_21, metal1, 4.6, -0.3, 0.8, 2.8, 11, 1, 3.2, 0)
A(sram_tlb_pinv_21, metal1, 4.6, 14.7, 0.8, 5.6, 11, 1, 3.2, 0)
R(sram_tlb_pinv_21, metal1, [(0,-0.3,43.4,0.3), (1.2,-0.3,2,2.5), (40,-0.3,40.8,2.5), (41.6,0,42.4,1.3), (20.7,3.9,21.3,14.1), (1.6,8.6,2.4,9.4), (21,8.7,21.6,9.3), (1.2,14.7,2,20.3), (40,14.7,40.8,20.3), (41.6,18.3,42.4,20), (0,19.7,43.4,20.3)])
R(sram_tlb_pinv_21, boundary, [(0,0,43.4,20), (0,0,43.4,20)])
sram_tlb_pinv_21.add(gdstk.Reference(sram_tlb_pmos_m24_w8_000, (1.2,11.1)))
sram_tlb_pinv_21.add(gdstk.Reference(sram_tlb_nmos_m24_w4_000, (1.2,0.9)))
sram_tlb_pinv_21.add(gdstk.Reference(sram_tlb_contact_12, (41.6,17.9)))
sram_tlb_pinv_21.add(gdstk.Reference(sram_tlb_contact_13, (41.6,0.9)))
sram_tlb_pinv_21.add(gdstk.Reference(sram_tlb_contact_14, (1.6,8.6)))
sram_tlb_pinv_21.add(gdstk.Label('A', (2,9), layer=49, texttype=0))
sram_tlb_pinv_21.add(gdstk.Label('Z', (21.3,9), layer=49, texttype=0))
sram_tlb_pinv_21.add(gdstk.Label('gnd', (21.7,0), layer=49, texttype=0))
sram_tlb_pinv_21.add(gdstk.Label('vdd', (21.7,20), layer=49, texttype=0))

sram_tlb_pdriver_5 = lib.new_cell('sram_tlb_pdriver_5')
R(sram_tlb_pdriver_5, pwell, [(-1.2,-0.3,105.2,9.6)])
R(sram_tlb_pdriver_5, nwell, [(-1.2,9.6,105.2,21.5)])
A(sram_tlb_pdriver_5, metal1, 3.9, 9.5, 4.7, 0.6, 3, 1, 6.6, 0)
R(sram_tlb_pdriver_5, metal1, [(0,-0.3,104,0.3), (38.1,8.7,38.7,9.3), (38.4,8.7,44.8,9.3), (51.3,8.7,62.6,9.3), (81.6,8.7,82.2,9.3), (23.4,8.9,24,9.5), (23.7,8.9,28.4,9.5), (30.3,8.9,35,9.5), (38.1,9,38.7,9.1), (23.4,9.2,24,9.8), (1.6,9.4,2.4,10.2), (0,19.7,104,20.3)])
R(sram_tlb_pdriver_5, boundary, [(0,0,104,20), (0,0,104,20)])
sram_tlb_pdriver_5.add(gdstk.Reference(sram_tlb_pinv_6, (0,0)))
sram_tlb_pdriver_5.add(gdstk.Reference(sram_tlb_pinv_6, (6.6,0)))
sram_tlb_pdriver_5.add(gdstk.Reference(sram_tlb_pinv_6, (13.2,0)))
sram_tlb_pdriver_5.add(gdstk.Reference(sram_tlb_pinv_6, (19.8,0)))
sram_tlb_pdriver_5.add(gdstk.Reference(sram_tlb_pinv_18, (26.4,0)))
sram_tlb_pdriver_5.add(gdstk.Reference(sram_tlb_pinv_19, (33,0)))
sram_tlb_pdriver_5.add(gdstk.Reference(sram_tlb_pinv_20, (42.8,0)))
sram_tlb_pdriver_5.add(gdstk.Reference(sram_tlb_pinv_21, (60.6,0)))
sram_tlb_pdriver_5.add(gdstk.Label('Z', (81.9,9), layer=49, texttype=0))
sram_tlb_pdriver_5.add(gdstk.Label('A', (2,9.8), layer=49, texttype=0))
sram_tlb_pdriver_5.add(gdstk.Label('gnd', (52,0), layer=49, texttype=0))
sram_tlb_pdriver_5.add(gdstk.Label('vdd', (52,20), layer=49, texttype=0))

lib.write_gds('sram_tlb_pdriver_5.gds')
